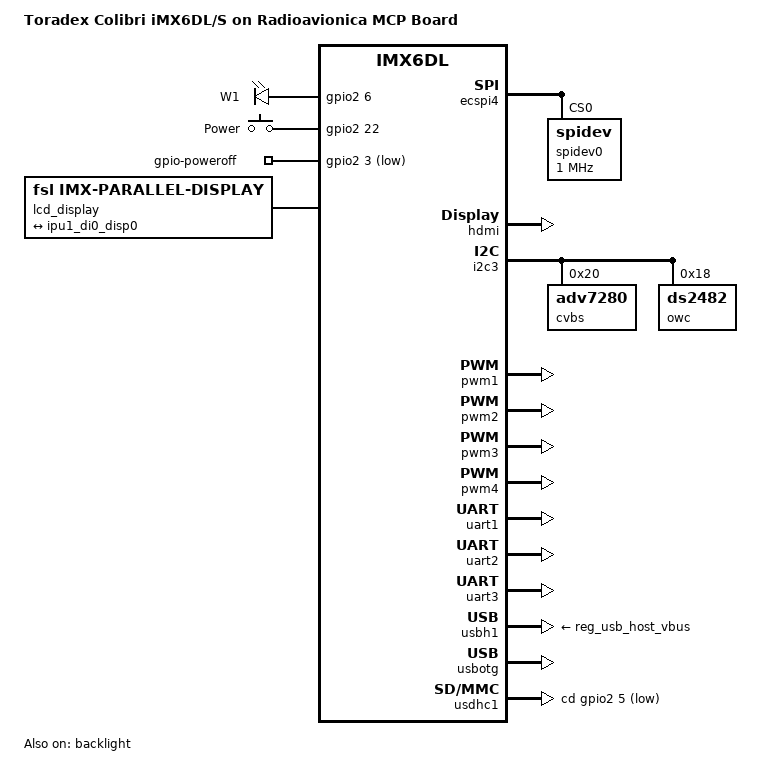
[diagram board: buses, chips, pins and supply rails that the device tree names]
/*
 * Copyright 2014-2016 Toradex AG
 * Copyright 2012 Freescale Semiconductor, Inc.
 * Copyright 2011 Linaro Ltd.
 *
 * This file is dual-licensed: you can use it either under the terms
 * of the GPL or the X11 license, at your option. Note that this dual
 * licensing only applies to this file, and not this project as a
 * whole.
 *
 *  a) This file is free software; you can redistribute it and/or
 *     modify it under the terms of the GNU General Public License
 *     version 2 as published by the Free Software Foundation.
 *
 *     This file is distributed in the hope that it will be useful
 *     but WITHOUT ANY WARRANTY; without even the implied warranty of
 *     MERCHANTABILITY or FITNESS FOR A PARTICULAR PURPOSE.  See the
 *     GNU General Public License for more details.
 *
 * Or, alternatively
 *
 *  b) Permission is hereby granted, free of charge, to any person
 *     obtaining a copy of this software and associated documentation
 *     files (the "Software"), to deal in the Software without
 *     restriction, including without limitation the rights to use
 *     copy, modify, merge, publish, distribute, sublicense, and/or
 *     sell copies of the Software, and to permit persons to whom the
 *     Software is furnished to do so, subject to the following
 *     conditions:
 *
 *     The above copyright notice and this permission notice shall be
 *     included in all copies or substantial portions of the Software.
 *
 *     THE SOFTWARE IS PROVIDED , WITHOUT WARRANTY OF ANY KIND
 *     EXPRESS OR IMPLIED, INCLUDING BUT NOT LIMITED TO THE WARRANTIES
 *     OF MERCHANTABILITY, FITNESS FOR A PARTICULAR PURPOSE AND
 *     NONINFRINGEMENT. IN NO EVENT SHALL THE AUTHORS OR COPYRIGHT
 *     HOLDERS BE LIABLE FOR ANY CLAIM, DAMAGES OR OTHER LIABILITY
 *     WHETHER IN AN ACTION OF CONTRACT, TORT OR OTHERWISE, ARISING
 *     FROM, OUT OF OR IN CONNECTION WITH THE SOFTWARE OR THE USE OR
 *     OTHER DEALINGS IN THE SOFTWARE.
 */

/dts-v1/;

#include <dt-bindings/input/input.h>
#include <dt-bindings/interrupt-controller/irq.h>
#include "imx6dl.dtsi"
#include "imx6qdl-colibri.dtsi"

/ {
	model = "Toradex Colibri iMX6DL/S on Radioavionica MCP Board";
	compatible = "toradex,mcp", "toradex,colibri_imx6dl-eval",
		"toradex,colibri_imx6dl", "fsl,imx6dl";

	aliases {
		i2c0 = &i2c2;
		i2c1 = &i2c3;
	};

	aliases {
		rtc0 = &snvs_rtc;
	};

	gpio-leds {
		compatible = "gpio-leds";
		pinctrl-names = "default";
		pinctrl-0 = <&pinctrl_gpio_leds>;

		w1 {
			label = "W1";
			gpios = <&gpio2 6 GPIO_ACTIVE_HIGH>;
			default-state = "on";
		};
	};

	gpio-keys {
		compatible = "gpio-keys";
		pinctrl-names = "default";
		pinctrl-0 = <&pinctrl_gpio_keys>;

		power {
			label = "Power";
			gpios = <&gpio2 22 GPIO_ACTIVE_HIGH>; /* SODIMM 45 */
			linux,code = <KEY_POWER>;
			debounce-interval = <100>;
			wakeup-source;
		};
	};

	gpio-poweroff {
		pinctrl-names = "default";
		pinctrl-0 = <&pinctrl_gpio_poweroff>;
		compatible = "gpio-poweroff";
		gpios = <&gpio2 3 GPIO_ACTIVE_LOW>;
	};

	lcd_display: display@di0 {
		compatible = "fsl,imx-parallel-display";
		#address-cells = <1>;
		#size-cells = <0>;
		interface-pix-fmt = "bgr666";
		pinctrl-names = "default";
		pinctrl-0 = <&pinctrl_ipu1_lcdif>;
		status = "okay";

		#include "ravion-timings.dtsi"

		port@0 {
			reg = <0>;

			lcd_display_in: endpoint {
				remote-endpoint = <&ipu1_di0_disp0>;
			};
		};
	};
};

&backlight {
	brightness-levels = <0 127 191 223 239 247 251 255>;
	default-brightness-level = <1>;
	status = "okay";
};

/* Colibri SSP */
&ecspi4 {
	status = "okay";

	spidev0: spidev@0 {
		reg = <0>;
		spi-max-frequency = <1000000>;
/*		compatible = "spidev"; */
		status = "okay";
	};
};

&hdmi {
	status = "okay";
};

/*
 * Colibri I2C: I2C3_SDA/SCL on SODIMM 194/196 (e.g. RTC on carrier board)
 */
&i2c3 {
	status = "okay";

	/* DS2782: Legacy Fuel Gauge Controller */
	fgc: ds2782@34 {
		status = "disabled";
		compatible = "ds2782";
		reg = <0x34>;
	};

	i2c_bus_mux: mux@70 { /* I2C bus multiplexer/switch */
		status = "disabled";
		compatible = "nxp,pca9541";
		#address-cells = <1>;
		#size-cells = <0>;
		reg = <0x70>;

		i2c@1 {
			#address-cells = <1>;
			#size-cells = <0>;
			reg = <1>;
			/* Texas Instruments SBS-compatible Fuel Gauge Controller */
			battery1: bq20z655@0b {
				status = "okay";
				compatible = "sbs,sbs-battery";
				reg = <0x0b>;
				sbs,i2c-retry-count = <2>;
				sbs,poll-retry-count = <1>;
			};
		};

		i2c@2 {
			#address-cells = <1>;
			#size-cells = <0>;
			reg = <2>;
			/* Texas Instruments SBS-compatible Fuel Gauge Controller */
			battery2: bq20z655@ob {
				status = "okay";
				compatible = "sbs,sbs-battery";
				reg = <0x0b>;
				sbs,i2c-retry-count = <2>;
				sbs,poll-retry-count = <1>;
			};
		};
	};

	/* Texas Instruments SBS-compatible Fuel Gauge Controller */
	battery0: bq20z655@0b {
		status = "disabled";
		compatible = "sbs,sbs-battery";
		reg = <0x0b>;
		sbs,i2c-retry-count = <2>;
		sbs,poll-retry-count = <1>;
	};

	/* Composite video capture interface */
	cvbs: adv7280@20 {
		status = "okay";
		compatible = "adv7280", "adi,adv7280";
		reg = <0x20>;
		/* FixMe: may be swapped powerdown and reset pins
		reset-gpios = <&gpio2 9 GPIO_ACTIVE_HIGH>;
		powerdown-gpios = <&gpio1 1 GPIO_ACTIVE_HIGH>; */
	};

	/* DS2484: I2C to OneWire Converter */
	owc: ds2482@18 {
		status = "okay";
		compatible = "ds2482";
		reg = <0x18>;
	};
};

&ipu1_di0_disp0 {
	remote-endpoint = <&lcd_display_in>;
};

&pwm1 {
	status = "okay";
};

&pwm2 {
	status = "okay";
};

&pwm3 {
	status = "okay";
};

&pwm4 {
	status = "okay";
};

&reg_usb_host_vbus {
	status = "okay";
};

&uart1 {
	status = "okay";
};

&uart2 {
	status = "okay";
};

&uart3 {
	status = "okay";
};

&usbh1 {
	vbus-supply = <&reg_usb_host_vbus>;
	status = "okay";
};

&usbotg {
	status = "okay";
};

/* Colibri MMC */
&usdhc1 {
	pinctrl-names = "default";
	pinctrl-0 = <&pinctrl_mmc_cd>;
	cd-gpios = <&gpio2 5 GPIO_ACTIVE_LOW>; /* MMCD */
	status = "okay";
};

&weim {
	status = "disabled";
};

&iomuxc {
	pinctrl_gpio_poweroff: gpio-poweroff {
		fsl,pins = <MX6QDL_PAD_NANDF_D3__GPIO2_IO03 0x0f058>; /* PU_22K */
	};

	pinctrl_gpio_leds: gpio-leds {
		fsl,pins = <MX6QDL_PAD_NANDF_D6__GPIO2_IO06 0x0f058>; /* PU_22K */
	};
};
